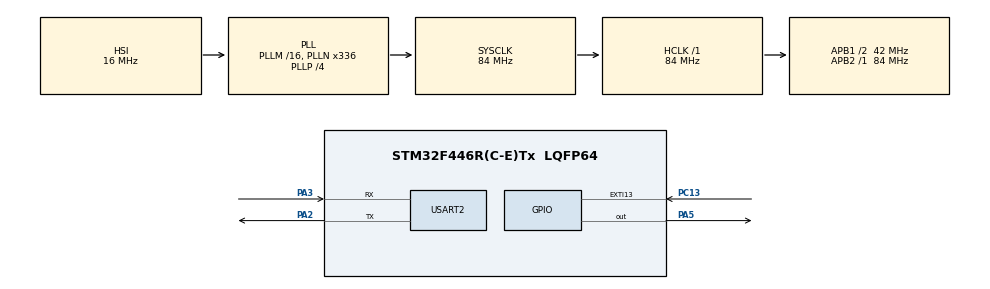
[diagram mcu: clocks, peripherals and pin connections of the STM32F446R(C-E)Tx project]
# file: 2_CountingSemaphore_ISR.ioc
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FREERTOS.Tasks01=defaultTask,0,128,StartDefaultTask,Default,NULL,Dynamic,NULL,NULL
FREERTOS.configUSE_COUNTING_SEMAPHORES=1
FREERTOS.configUSE_NEWLIB_REENTRANT=1
Mcu.Family=STM32F4
Mcu.Name=STM32F446R(C-E)Tx
Mcu.Package=LQFP64
NVIC.EXTI15_10_IRQn=true\:5\:0\:false\:false\:true\:true\:true\:true\:true
NVIC.PriorityGroup=NVIC_PRIORITYGROUP_4
NVIC.TIM6_DAC_IRQn=true\:15\:0\:false\:false\:true\:false\:false\:true\:true
NVIC.TimeBase=TIM6_DAC_IRQn
NVIC.TimeBaseIP=TIM6
PA2.Mode=Asynchronous
PA2.Signal=USART2_TX
PA3.Mode=Asynchronous
PA3.Signal=USART2_RX
PA5.Signal=GPIO_Output
PC13.Signal=GPXTI13
ProjectManager.HeapSize=0x200
ProjectManager.StackSize=0x400
ProjectManager.TargetToolchain=STM32CubeIDE
RCC.AHBFreq_Value=84000000
RCC.APB1CLKDivider=RCC_HCLK_DIV2
RCC.APB1Freq_Value=42000000
RCC.APB1TimFreq_Value=84000000
RCC.APB2Freq_Value=84000000
RCC.APB2TimFreq_Value=84000000
RCC.CortexFreq_Value=84000000
RCC.FLatency-AdvancedSettings=FLASH_LATENCY_2
RCC.HCLKFreq_Value=84000000
RCC.HSE_VALUE=8000000
RCC.HSI_VALUE=16000000
RCC.LSE_VALUE=32768
RCC.PLLN=336
RCC.PLLP=RCC_PLLP_DIV4
RCC.SYSCLKFreq_VALUE=84000000
RCC.SYSCLKSource=RCC_SYSCLKSOURCE_PLLCLK
RCC.USBFreq_Value=168000000
RCC.VCOOutputFreq_Value=336000000
USART2.VirtualMode=VM_ASYNC
VP_FREERTOS_VS_CMSIS_V1.Mode=CMSIS_V1
VP_SYS_VS_tim6.Mode=TIM6
board=NUCLEO-F446RE

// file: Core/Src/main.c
/* USER CODE BEGIN Header */
/**
  ******************************************************************************
  * @file           : main.c
  * @brief          : Main program body
  ******************************************************************************
  * @attention
  *
  * Copyright (c) 2026 STMicroelectronics.
  * All rights reserved.
  *
  * This software is licensed under terms that can be found in the LICENSE file
  * in the root directory of this software component.
  * If no LICENSE file comes with this software, it is provided AS-IS.
  *
  ******************************************************************************
  */
/* USER CODE END Header */
#include "main.h"

/* USER CODE BEGIN Includes */

#include "FreeRTOS.h"
#include "task.h"
#include "semphr.h"

/* USER CODE END Includes */

UART_HandleTypeDef huart2;

/* USER CODE BEGIN PV */

/************* Semaphore Handle ***********************/
uint8_t max_count = 2;
SemaphoreHandle_t CountingSemaphore_handle;

/****************** Task Handle ********************/
TaskHandle_t Task01_handle;
TaskHandle_t Task02_handle;
TaskHandle_t Task03_handle;

/*************** Task Definitions and Declaration *************/
void Task01_Entry(void *arg){
	while(1){
		xSemaphoreTake(CountingSemaphore_handle, portMAX_DELAY);
		HAL_UART_Transmit(&huart2, (uint8_t *)"Task 1 is Running\r\n", 19, 10);
		vTaskDelay(pdMS_TO_TICKS(1000));
	}
}

void Task02_Entry(void *arg){
	while(1){
		xSemaphoreTake(CountingSemaphore_handle, portMAX_DELAY);
		HAL_UART_Transmit(&huart2, (uint8_t *)"Task 2 is Running\r\n", 19, 10);
		vTaskDelay(pdMS_TO_TICKS(1000));
	}
}

void Task03_Entry(void *arg){
	while(1){
		xSemaphoreTake(CountingSemaphore_handle, portMAX_DELAY);
		HAL_UART_Transmit(&huart2, (uint8_t *)"Task 3 is Running\r\n", 19, 10);
		vTaskDelay(pdMS_TO_TICKS(1000));
	}
}

/* USER CODE END PV */

void SystemClock_Config(void);
static void MX_GPIO_Init(void);
static void MX_USART2_UART_Init(void);

int main(void)
{

  /* MCU Configuration--------------------------------------------------------*/

  /* Reset of all peripherals, Initializes the Flash interface and the Systick. */
  HAL_Init();

  /* Configure the system clock */
  SystemClock_Config();

  /* Initialize all configured peripherals */
  MX_GPIO_Init();
  MX_USART2_UART_Init();
  /* USER CODE BEGIN 2 */

  /************** Create Semaphore & tasks ********************/

  uint8_t max_count = 2;
  CountingSemaphore_handle = xSemaphoreCreateCounting(max_count, max_count);
  if(CountingSemaphore_handle == NULL){
	  HAL_UART_Transmit(&huart2, (uint8_t *)"Semaphore is not created\r\n", 26, 10);
  }else{
	  HAL_UART_Transmit(&huart2, (uint8_t *)"Semaphore is created\r\n", 22, 10);
  }

  BaseType_t task01_status, task02_status, task03_status;
  task01_status = xTaskCreate(Task01_Entry, "task01", 128, NULL, 3, &Task01_handle);
  task02_status = xTaskCreate(Task02_Entry, "task02", 128, NULL, 2, &Task02_handle);
  task03_status = xTaskCreate(Task03_Entry, "task03", 128, NULL, 1, &Task03_handle);

  if(task01_status == pdTRUE && task02_status == pdTRUE && task03_status == pdTRUE){
	  HAL_UART_Transmit(&huart2, (uint8_t *)"Tasks are created\r\n", 19, 10);
  }else{
	  HAL_UART_Transmit(&huart2, (uint8_t *)"Tasks are not created\r\n", 23, 10);
  }

  vTaskStartScheduler();
  /* We should never get here as control is now taken by the scheduler */

  /* USER CODE END 2 */

  /* Infinite loop */
  while (1)
  {

  }
}

void SystemClock_Config(void)
{
  RCC_OscInitTypeDef RCC_OscInitStruct = {0};
  RCC_ClkInitTypeDef RCC_ClkInitStruct = {0};

  /** Configure the main internal regulator output voltage
  */
  __HAL_RCC_PWR_CLK_ENABLE();
  __HAL_PWR_VOLTAGESCALING_CONFIG(PWR_REGULATOR_VOLTAGE_SCALE3);

  /** Initializes the RCC Oscillators according to the specified parameters
  * in the RCC_OscInitTypeDef structure.
  */
  RCC_OscInitStruct.OscillatorType = RCC_OSCILLATORTYPE_HSI;
  RCC_OscInitStruct.HSIState = RCC_HSI_ON;
  RCC_OscInitStruct.HSICalibrationValue = RCC_HSICALIBRATION_DEFAULT;
  RCC_OscInitStruct.PLL.PLLState = RCC_PLL_ON;
  RCC_OscInitStruct.PLL.PLLSource = RCC_PLLSOURCE_HSI;
  RCC_OscInitStruct.PLL.PLLM = 16;
  RCC_OscInitStruct.PLL.PLLN = 336;
  RCC_OscInitStruct.PLL.PLLP = RCC_PLLP_DIV4;
  RCC_OscInitStruct.PLL.PLLQ = 2;
  RCC_OscInitStruct.PLL.PLLR = 2;
  if (HAL_RCC_OscConfig(&RCC_OscInitStruct) != HAL_OK)
  {
    Error_Handler();
  }

  /** Initializes the CPU, AHB and APB buses clocks
  */
  RCC_ClkInitStruct.ClockType = RCC_CLOCKTYPE_HCLK|RCC_CLOCKTYPE_SYSCLK
                              |RCC_CLOCKTYPE_PCLK1|RCC_CLOCKTYPE_PCLK2;
  RCC_ClkInitStruct.SYSCLKSource = RCC_SYSCLKSOURCE_PLLCLK;
  RCC_ClkInitStruct.AHBCLKDivider = RCC_SYSCLK_DIV1;
  RCC_ClkInitStruct.APB1CLKDivider = RCC_HCLK_DIV2;
  RCC_ClkInitStruct.APB2CLKDivider = RCC_HCLK_DIV1;

  if (HAL_RCC_ClockConfig(&RCC_ClkInitStruct, FLASH_LATENCY_2) != HAL_OK)
  {
    Error_Handler();
  }
}

static void MX_USART2_UART_Init(void)
{

  huart2.Instance = USART2;
  huart2.Init.BaudRate = 115200;
  huart2.Init.WordLength = UART_WORDLENGTH_8B;
  huart2.Init.StopBits = UART_STOPBITS_1;
  huart2.Init.Parity = UART_PARITY_NONE;
  huart2.Init.Mode = UART_MODE_TX_RX;
  huart2.Init.HwFlowCtl = UART_HWCONTROL_NONE;
  huart2.Init.OverSampling = UART_OVERSAMPLING_16;
  if (HAL_UART_Init(&huart2) != HAL_OK)
  {
    Error_Handler();
  }

}

static void MX_GPIO_Init(void)
{
  GPIO_InitTypeDef GPIO_InitStruct = {0};

  /* GPIO Ports Clock Enable */
  __HAL_RCC_GPIOC_CLK_ENABLE();
  __HAL_RCC_GPIOA_CLK_ENABLE();

  /*Configure GPIO pin Output Level */
  HAL_GPIO_WritePin(GPIOA, GPIO_PIN_5, GPIO_PIN_RESET);

  /*Configure GPIO pin : PC13 */
  GPIO_InitStruct.Pin = GPIO_PIN_13;
  GPIO_InitStruct.Mode = GPIO_MODE_IT_RISING;
  GPIO_InitStruct.Pull = GPIO_NOPULL;
  HAL_GPIO_Init(GPIOC, &GPIO_InitStruct);

  /*Configure GPIO pin : PA5 */
  GPIO_InitStruct.Pin = GPIO_PIN_5;
  GPIO_InitStruct.Mode = GPIO_MODE_OUTPUT_PP;
  GPIO_InitStruct.Pull = GPIO_NOPULL;
  GPIO_InitStruct.Speed = GPIO_SPEED_FREQ_LOW;
  HAL_GPIO_Init(GPIOA, &GPIO_InitStruct);

  /* EXTI interrupt init*/
  HAL_NVIC_SetPriority(EXTI15_10_IRQn, 5, 0);
  HAL_NVIC_EnableIRQ(EXTI15_10_IRQn);

}

/* USER CODE BEGIN 4 */
void HAL_GPIO_EXTI_Callback(uint16_t GPIO_Pin){
	if(GPIO_Pin == GPIO_PIN_13){
		HAL_GPIO_TogglePin(GPIOA, GPIO_PIN_5);

		// release the semaphore so that tasks can take it and Run
		BaseType_t xHigherPriorityTaskWoken = pdFALSE;
		xSemaphoreGiveFromISR(CountingSemaphore_handle, &xHigherPriorityTaskWoken);
		portYIELD_FROM_ISR(xHigherPriorityTaskWoken);
	}
}
/* USER CODE END 4 */

void HAL_TIM_PeriodElapsedCallback(TIM_HandleTypeDef *htim)
{
  if (htim->Instance == TIM6) {
    HAL_IncTick();
  }
}

void Error_Handler(void)
{
  __disable_irq();
  while (1)
  {
  }
}
